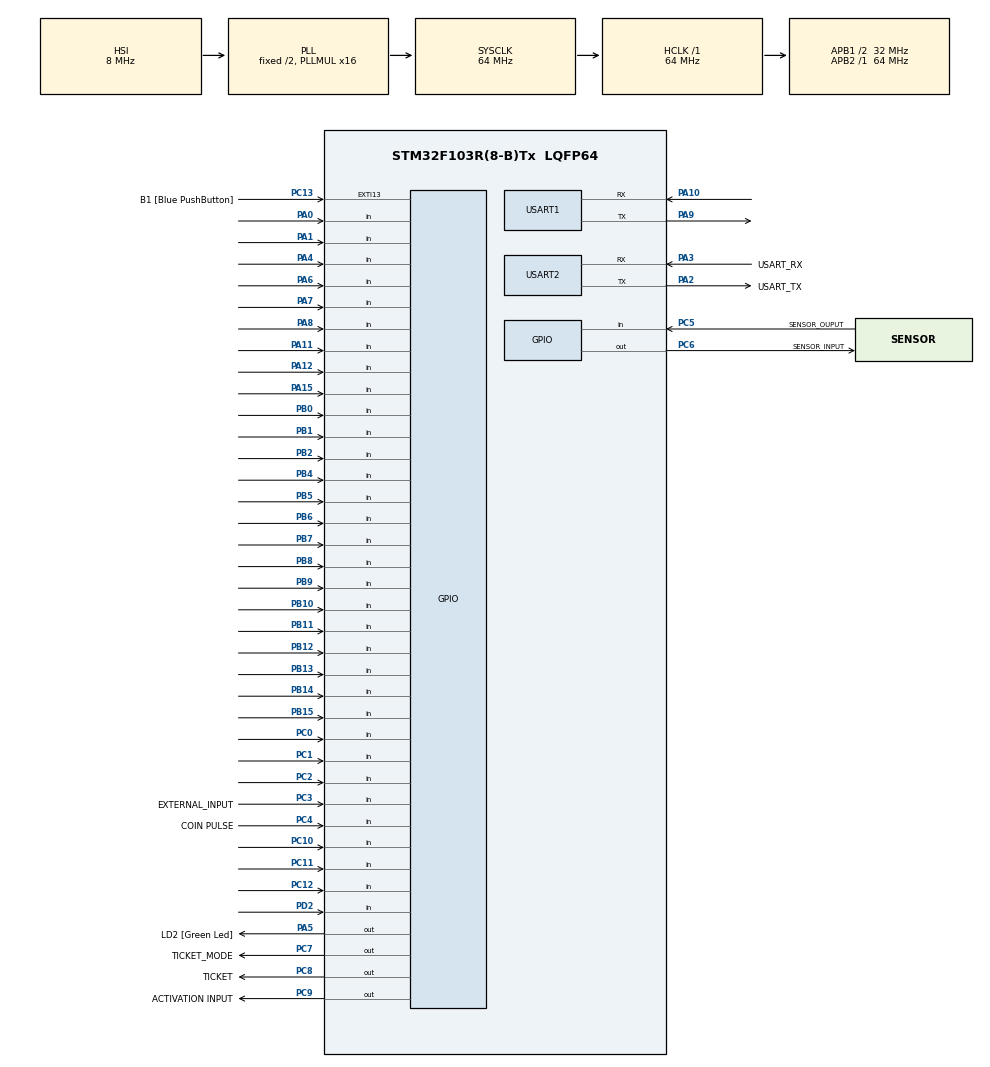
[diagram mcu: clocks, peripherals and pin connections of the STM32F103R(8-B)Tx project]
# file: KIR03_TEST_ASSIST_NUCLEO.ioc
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Mcu.Family=STM32F1
Mcu.Name=STM32F103R(8-B)Tx
Mcu.Package=LQFP64
NVIC.EXTI15_10_IRQn=true\:0\:0\:false\:false\:true\:true\:true
NVIC.PriorityGroup=NVIC_PRIORITYGROUP_4
NVIC.USART1_IRQn=true\:0\:0\:false\:false\:true\:true\:true
NVIC.USART2_IRQn=true\:0\:0\:false\:false\:true\:true\:true
PA0-WKUP.Signal=GPIO_Input
PA1.Signal=GPIO_Input
PA10.Mode=Asynchronous
PA10.Signal=USART1_RX
PA11.Signal=GPIO_Input
PA12.Signal=GPIO_Input
PA13.GPIO_Label=TMS
PA13.Mode=Serial_Wire
PA13.Signal=SYS_JTMS-SWDIO
PA14.GPIO_Label=TCK
PA14.Mode=Serial_Wire
PA14.Signal=SYS_JTCK-SWCLK
PA15.Signal=GPIO_Input
PA2.GPIO_Label=USART_TX
PA2.GPIO_Mode=GPIO_MODE_AF_PP
PA2.GPIO_PuPd=GPIO_NOPULL
PA2.GPIO_Speed=GPIO_SPEED_FREQ_LOW
PA2.Mode=Asynchronous
PA2.Signal=USART2_TX
PA3.GPIO_Label=USART_RX
PA3.GPIO_Mode=GPIO_MODE_AF_PP
PA3.GPIO_PuPd=GPIO_NOPULL
PA3.GPIO_Speed=GPIO_SPEED_FREQ_LOW
PA3.Mode=Asynchronous
PA3.Signal=USART2_RX
PA4.Signal=GPIO_Input
PA5.GPIO_Label=LD2 [Green Led]
PA5.GPIO_ModeDefaultOutputPP=GPIO_MODE_OUTPUT_PP
PA5.GPIO_PuPd=GPIO_NOPULL
PA5.GPIO_Speed=GPIO_SPEED_FREQ_LOW
PA5.Signal=GPIO_Output
PA6.Signal=GPIO_Input
PA7.Signal=GPIO_Input
PA8.Signal=GPIO_Input
PA9.Mode=Asynchronous
PA9.Signal=USART1_TX
PB0.Signal=GPIO_Input
PB1.Signal=GPIO_Input
PB10.Signal=GPIO_Input
PB11.Signal=GPIO_Input
PB12.Signal=GPIO_Input
PB13.Signal=GPIO_Input
PB14.Signal=GPIO_Input
PB15.Signal=GPIO_Input
PB2.Signal=GPIO_Input
PB3.GPIO_Label=SWO
PB3.Signal=SYS_JTDO-TRACESWO
PB4.Signal=GPIO_Input
PB5.Signal=GPIO_Input
PB6.Signal=GPIO_Input
PB7.Signal=GPIO_Input
PB8.Signal=GPIO_Input
PB9.Signal=GPIO_Input
PC0.Signal=GPIO_Input
PC1.Signal=GPIO_Input
PC10.Signal=GPIO_Input
PC11.Signal=GPIO_Input
PC12.Signal=GPIO_Input
PC13-TAMPER-RTC.GPIO_Label=B1 [Blue PushButton]
PC13-TAMPER-RTC.GPIO_PuPd=GPIO_NOPULL
PC13-TAMPER-RTC.Signal=GPXTI13
PC14-OSC32_IN.Mode=LSE-External-Oscillator
PC14-OSC32_IN.Signal=RCC_OSC32_IN
PC15-OSC32_OUT.Mode=LSE-External-Oscillator
PC15-OSC32_OUT.Signal=RCC_OSC32_OUT
PC2.Signal=GPIO_Input
PC3.GPIO_Label=EXTERNAL_INPUT
PC3.Signal=GPIO_Input
PC4.GPIO_Label=COIN PULSE
PC4.Signal=GPIO_Input
PC5.GPIO_Label=SENSOR_OUPUT
PC5.Signal=GPIO_Input
PC6.GPIO_Label=SENSOR_INPUT
PC6.Signal=GPIO_Output
PC7.GPIO_Label=TICKET_MODE
PC7.Signal=GPIO_Output
PC8.GPIO_Label=TICKET
PC8.Signal=GPIO_Output
PC9.GPIO_Label=ACTIVATION INPUT
PC9.Signal=GPIO_Output
PD0-OSC_IN.Mode=HSE-External-Clock-Source
PD0-OSC_IN.Signal=RCC_OSC_IN
PD1-OSC_OUT.Mode=HSE-External-Clock-Source
PD1-OSC_OUT.Signal=RCC_OSC_OUT
PD2.Signal=GPIO_Input
ProjectManager.HeapSize=0x200
ProjectManager.StackSize=0x400
ProjectManager.TargetToolchain=TrueSTUDIO
RCC.AHBFreq_Value=64000000
RCC.APB1CLKDivider=RCC_HCLK_DIV2
RCC.APB1Freq_Value=32000000
RCC.APB1TimFreq_Value=64000000
RCC.APB2Freq_Value=64000000
RCC.APB2TimFreq_Value=64000000
RCC.HCLKFreq_Value=64000000
RCC.PLLMUL=RCC_PLL_MUL16
RCC.RTCClockSelection=RCC_RTCCLKSOURCE_LSE
RCC.SYSCLKFreq_VALUE=64000000
RCC.SYSCLKSource=RCC_SYSCLKSOURCE_PLLCLK
RCC.USBFreq_Value=64000000
USART1.VirtualMode=VM_ASYNC
USART2.VirtualMode=VM_ASYNC
board=NUCLEO-F103RB

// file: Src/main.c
/* USER CODE BEGIN Header */
/**
  ******************************************************************************
  * @file           : main.c
  * @brief          : Main program body
  ******************************************************************************
  * @attention
  *
  * <h2><center>&copy; Copyright (c) 2019 STMicroelectronics.
  * All rights reserved.</center></h2>
  *
  * This software component is licensed by ST under BSD 3-Clause license,
  * the "License"; You may not use this file except in compliance with the
  * License. You may obtain a copy of the License at:
  *                        opensource.org/licenses/BSD-3-Clause
  *
  ******************************************************************************
  */
/* USER CODE END Header */

#include "main.h"

/* USER CODE BEGIN Includes */
#include "cuart.h"
/* USER CODE END Includes */

/* USER CODE BEGIN PM */
#define HIHG_LOGIC
#ifdef HIHG_LOGIC
#define ASSERT_ACTIVATION ACTIVATION_INPUT_GPIO_Port->ODR &=~ACTIVATION_INPUT_Pin
#define DE_ASSER_ACTIVATION ACTIVATION_INPUT_GPIO_Port->ODR |=ACTIVATION_INPUT_Pin
#else
#define DE_ASSER_ACTIVATION  ACTIVATION_INPUT_GPIO_Port->ODR &=~ACTIVATION_INPUT_Pin
#define ASSERT_ACTIVATION ACTIVATION_INPUT_GPIO_Port->ODR |=ACTIVATION_INPUT_Pin
#endif
/* USER CODE END PM */

UART_HandleTypeDef huart1;
UART_HandleTypeDef huart2;

void SystemClock_Config(void);
static void MX_GPIO_Init(void);
static void MX_USART1_UART_Init(void);
static void MX_USART2_UART_Init(void);

/* USER CODE BEGIN 0 */
void blink(void)
{
	static uint32_t millis= 0;
	if (HAL_GetTick() >millis) {
		millis = HAL_GetTick()+250;
		LD2_GPIO_Port->ODR ^=LD2_Pin;
	}

}
void generate_ticket(uint16_t tickets)
{

	ASSERT_ACTIVATION;
	HAL_Delay(100);
	while(tickets-->0) {
		TICKET_GPIO_Port->ODR |= TICKET_Pin;
		HAL_Delay(50);
		TICKET_GPIO_Port->ODR &=~TICKET_Pin;
		HAL_Delay(10);
		LD2_GPIO_Port->ODR ^=LD2_Pin;
	}
	DE_ASSER_ACTIVATION;
}

void get_version(void){
	printf("version is v1.0\r\n");
}

void echo_reply(void){
	printf("ECHO !\r\n");
}

void args_call(uint16_t args){
	printf("args %x\r\n", args);
}
void run_hardcoded_tickets(void){
	generate_ticket(25);
}

/* USER CODE END 0 */

int main(void)
{
  /* USER CODE BEGIN 1 */
	setvbuf(stdout, NULL, _IONBF, 0);
  /* USER CODE END 1 */

  /* MCU Configuration--------------------------------------------------------*/

  /* Reset of all peripherals, Initializes the Flash interface and the Systick. */
  HAL_Init();

  /* Configure the system clock */
  SystemClock_Config();

  /* Initialize all configured peripherals */
  MX_GPIO_Init();
  MX_USART1_UART_Init();
  MX_USART2_UART_Init();
  /* USER CODE BEGIN 2 */
	uint16_t start_tickets = 0;
	uint16_t tickets = 0;
	DE_ASSER_ACTIVATION;
	dbg_setup();
	printf("KIR03 Assistant starts %s %s \r\n",__DATE__,__TIME__);

	dbg_register_task(&get_version    , (uint8_t *)"version",0);
	dbg_register_task(&echo_reply     , (uint8_t *)"echo",0);
	dbg_register_task(&generate_ticket, (uint8_t *)"tickets",1);

	#define SO 0xC4
	#define SI 0xC5
	#define TM 0XC6
	#define EI 0XC7
	#define CP 0XC8
	#define AI 0XC9
  /* USER CODE END 2 */

  /* Infinite loop */
  while (1)
  {

    /* USER CODE BEGIN 3 */

	dbg_command_scan();
	while (!(B1_GPIO_Port->IDR &B1_Pin)) {
		tickets      = 25;
		start_tickets = 1;
	}
	if (start_tickets) {
		generate_ticket(tickets);
		start_tickets = 0;
	}
	blink();
  }
  /* USER CODE END 3 */
}

void SystemClock_Config(void)
{
  RCC_OscInitTypeDef RCC_OscInitStruct = {0};
  RCC_ClkInitTypeDef RCC_ClkInitStruct = {0};

  /** Initializes the CPU, AHB and APB busses clocks
  */
  RCC_OscInitStruct.OscillatorType = RCC_OSCILLATORTYPE_HSI;
  RCC_OscInitStruct.HSIState = RCC_HSI_ON;
  RCC_OscInitStruct.HSICalibrationValue = RCC_HSICALIBRATION_DEFAULT;
  RCC_OscInitStruct.PLL.PLLState = RCC_PLL_ON;
  RCC_OscInitStruct.PLL.PLLSource = RCC_PLLSOURCE_HSI_DIV2;
  RCC_OscInitStruct.PLL.PLLMUL = RCC_PLL_MUL16;
  if (HAL_RCC_OscConfig(&RCC_OscInitStruct) != HAL_OK)
  {
    Error_Handler();
  }
  /** Initializes the CPU, AHB and APB busses clocks
  */
  RCC_ClkInitStruct.ClockType = RCC_CLOCKTYPE_HCLK|RCC_CLOCKTYPE_SYSCLK
                              |RCC_CLOCKTYPE_PCLK1|RCC_CLOCKTYPE_PCLK2;
  RCC_ClkInitStruct.SYSCLKSource = RCC_SYSCLKSOURCE_PLLCLK;
  RCC_ClkInitStruct.AHBCLKDivider = RCC_SYSCLK_DIV1;
  RCC_ClkInitStruct.APB1CLKDivider = RCC_HCLK_DIV2;
  RCC_ClkInitStruct.APB2CLKDivider = RCC_HCLK_DIV1;

  if (HAL_RCC_ClockConfig(&RCC_ClkInitStruct, FLASH_LATENCY_2) != HAL_OK)
  {
    Error_Handler();
  }
}

static void MX_USART1_UART_Init(void)
{

  huart1.Instance = USART1;
  huart1.Init.BaudRate = 115200;
  huart1.Init.WordLength = UART_WORDLENGTH_8B;
  huart1.Init.StopBits = UART_STOPBITS_1;
  huart1.Init.Parity = UART_PARITY_NONE;
  huart1.Init.Mode = UART_MODE_TX_RX;
  huart1.Init.HwFlowCtl = UART_HWCONTROL_NONE;
  huart1.Init.OverSampling = UART_OVERSAMPLING_16;
  if (HAL_UART_Init(&huart1) != HAL_OK)
  {
    Error_Handler();
  }

}

static void MX_USART2_UART_Init(void)
{

  huart2.Instance = USART2;
  huart2.Init.BaudRate = 115200;
  huart2.Init.WordLength = UART_WORDLENGTH_8B;
  huart2.Init.StopBits = UART_STOPBITS_1;
  huart2.Init.Parity = UART_PARITY_NONE;
  huart2.Init.Mode = UART_MODE_TX_RX;
  huart2.Init.HwFlowCtl = UART_HWCONTROL_NONE;
  huart2.Init.OverSampling = UART_OVERSAMPLING_16;
  if (HAL_UART_Init(&huart2) != HAL_OK)
  {
    Error_Handler();
  }

}

static void MX_GPIO_Init(void)
{
  GPIO_InitTypeDef GPIO_InitStruct = {0};

  /* GPIO Ports Clock Enable */
  __HAL_RCC_GPIOC_CLK_ENABLE();
  __HAL_RCC_GPIOD_CLK_ENABLE();
  __HAL_RCC_GPIOA_CLK_ENABLE();
  __HAL_RCC_GPIOB_CLK_ENABLE();

  /*Configure GPIO pin Output Level */
  HAL_GPIO_WritePin(LD2_GPIO_Port, LD2_Pin, GPIO_PIN_RESET);

  /*Configure GPIO pin Output Level */
  HAL_GPIO_WritePin(GPIOC, SENSOR_INPUT_Pin|TICKET_MODE_Pin|TICKET_Pin|ACTIVATION_INPUT_Pin, GPIO_PIN_RESET);

  /*Configure GPIO pin : B1_Pin */
  GPIO_InitStruct.Pin = B1_Pin;
  GPIO_InitStruct.Mode = GPIO_MODE_IT_RISING;
  GPIO_InitStruct.Pull = GPIO_NOPULL;
  HAL_GPIO_Init(B1_GPIO_Port, &GPIO_InitStruct);

  /*Configure GPIO pins : PC0 PC1 PC2 EXTERNAL_INPUT_Pin
                           COIN_PULSE_Pin SENSOR_OUPUT_Pin PC10 PC11
                           PC12 */
  GPIO_InitStruct.Pin = GPIO_PIN_0|GPIO_PIN_1|GPIO_PIN_2|EXTERNAL_INPUT_Pin
                          |COIN_PULSE_Pin|SENSOR_OUPUT_Pin|GPIO_PIN_10|GPIO_PIN_11
                          |GPIO_PIN_12;
  GPIO_InitStruct.Mode = GPIO_MODE_INPUT;
  GPIO_InitStruct.Pull = GPIO_NOPULL;
  HAL_GPIO_Init(GPIOC, &GPIO_InitStruct);

  /*Configure GPIO pins : PA0 PA1 PA4 PA6
                           PA7 PA8 PA11 PA12
                           PA15 */
  GPIO_InitStruct.Pin = GPIO_PIN_0|GPIO_PIN_1|GPIO_PIN_4|GPIO_PIN_6
                          |GPIO_PIN_7|GPIO_PIN_8|GPIO_PIN_11|GPIO_PIN_12
                          |GPIO_PIN_15;
  GPIO_InitStruct.Mode = GPIO_MODE_INPUT;
  GPIO_InitStruct.Pull = GPIO_NOPULL;
  HAL_GPIO_Init(GPIOA, &GPIO_InitStruct);

  /*Configure GPIO pin : LD2_Pin */
  GPIO_InitStruct.Pin = LD2_Pin;
  GPIO_InitStruct.Mode = GPIO_MODE_OUTPUT_PP;
  GPIO_InitStruct.Pull = GPIO_NOPULL;
  GPIO_InitStruct.Speed = GPIO_SPEED_FREQ_LOW;
  HAL_GPIO_Init(LD2_GPIO_Port, &GPIO_InitStruct);

  /*Configure GPIO pins : PB0 PB1 PB2 PB10
                           PB11 PB12 PB13 PB14
                           PB15 PB4 PB5 PB6
                           PB7 PB8 PB9 */
  GPIO_InitStruct.Pin = GPIO_PIN_0|GPIO_PIN_1|GPIO_PIN_2|GPIO_PIN_10
                          |GPIO_PIN_11|GPIO_PIN_12|GPIO_PIN_13|GPIO_PIN_14
                          |GPIO_PIN_15|GPIO_PIN_4|GPIO_PIN_5|GPIO_PIN_6
                          |GPIO_PIN_7|GPIO_PIN_8|GPIO_PIN_9;
  GPIO_InitStruct.Mode = GPIO_MODE_INPUT;
  GPIO_InitStruct.Pull = GPIO_NOPULL;
  HAL_GPIO_Init(GPIOB, &GPIO_InitStruct);

  /*Configure GPIO pins : SENSOR_INPUT_Pin TICKET_MODE_Pin TICKET_Pin ACTIVATION_INPUT_Pin */
  GPIO_InitStruct.Pin = SENSOR_INPUT_Pin|TICKET_MODE_Pin|TICKET_Pin|ACTIVATION_INPUT_Pin;
  GPIO_InitStruct.Mode = GPIO_MODE_OUTPUT_PP;
  GPIO_InitStruct.Pull = GPIO_PULLUP;
  GPIO_InitStruct.Speed = GPIO_SPEED_FREQ_LOW;
  HAL_GPIO_Init(GPIOC, &GPIO_InitStruct);

  /*Configure GPIO pin : PD2 */
  GPIO_InitStruct.Pin = GPIO_PIN_2;
  GPIO_InitStruct.Mode = GPIO_MODE_INPUT;
  GPIO_InitStruct.Pull = GPIO_NOPULL;
  HAL_GPIO_Init(GPIOD, &GPIO_InitStruct);

  /* EXTI interrupt init*/
  HAL_NVIC_SetPriority(EXTI15_10_IRQn, 0, 0);
  HAL_NVIC_EnableIRQ(EXTI15_10_IRQn);

}

void Error_Handler(void)
{
}

/************************ (C) COPYRIGHT STMicroelectronics *****END OF FILE****/
